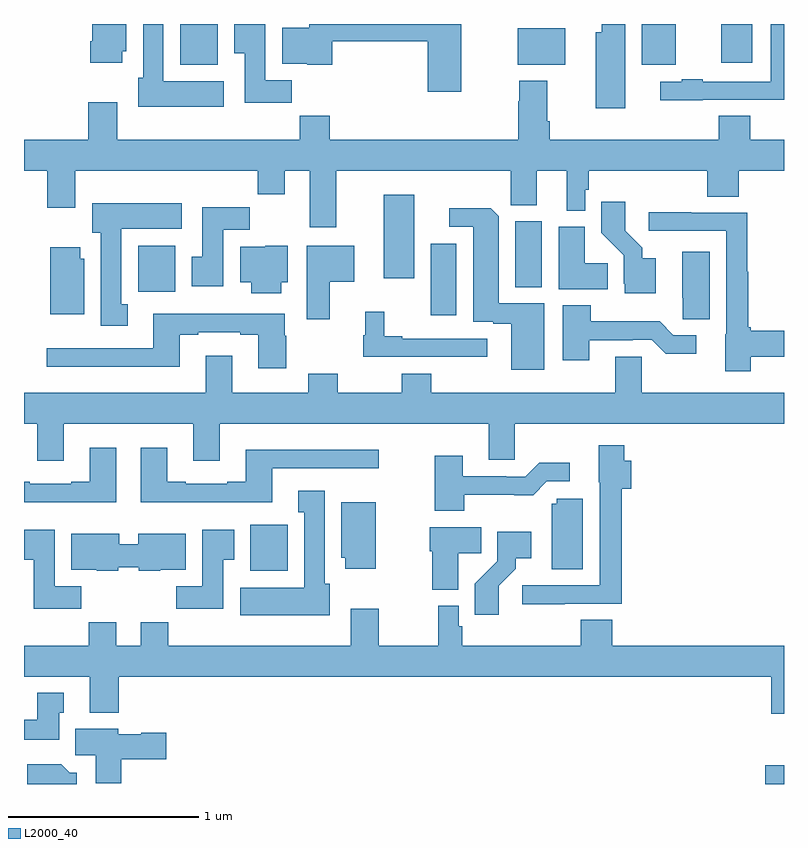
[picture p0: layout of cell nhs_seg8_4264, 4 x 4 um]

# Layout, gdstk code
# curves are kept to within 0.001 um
import gdstk
lib = gdstk.Library(unit=1e-6, precision=1e-09)
def R(c, l, rs):  # rectangles x0, y0, x1, y1
    for r in rs: c.add(gdstk.rectangle(r[:2], r[2:], *l))
def P(c, l, *ps):  # polygons
    for p in ps: c.add(gdstk.Polygon(p, *l))
L2000_40 = (2000, 40)

nhs_seg8_4264 = lib.new_cell('nhs_seg8_4264')
R(nhs_seg8_4264, L2000_40, [(374.901,1151.9,375,1151.998), (372.191,1153.022,372.388,1153.264), (373.142,1154.367,373.276,1154.743), (371.6,1154.492,371.797,1154.734), (373.586,1154.515,373.726,1154.862), (372.893,1154.562,373.054,1155.001), (371.823,1155.686,372.019,1155.9), (373.598,1155.686,373.849,1155.877), (374.252,1155.686,374.431,1155.9), (374.669,1155.696,374.833,1155.9)])
P(nhs_seg8_4264, L2000_40, [(372.052,1155.598),(371.734,1155.598),(371.734,1155.9),(371.627,1155.9),(371.627,1155.618),(371.6,1155.618),(371.6,1155.464),(372.052,1155.464)],
  [(374.573,1155.501),(375,1155.501),(375,1155.9),(374.93,1155.9),(374.93,1155.597),(374.573,1155.597),(374.573,1155.61),(374.461,1155.61),(374.461,1155.597),(374.349,1155.597),(374.349,1155.5),(374.573,1155.5)],
  [(374.164,1155.9),(374.042,1155.9),(374.042,1155.856),(374.009,1155.856),(374.009,1155.456),(374.164,1155.456)],
  [(373.302,1155.9),(372.5,1155.9),(372.5,1155.88),(372.359,1155.88),(372.359,1155.692),(372.492,1155.692),(372.492,1155.686),(372.623,1155.686),(372.623,1155.808),(373.124,1155.808),(373.124,1155.543),(373.302,1155.543)],
  [(371.518,1155.756),(371.539,1155.756),(371.539,1155.9),(371.36,1155.9),(371.36,1155.808),(371.348,1155.808),(371.348,1155.696),(371.518,1155.696)],
  [(372.41,1155.604),(372.271,1155.604),(372.271,1155.9),(372.107,1155.9),(372.107,1155.745),(372.161,1155.745),(372.161,1155.486),(372.41,1155.486)],
  [(372.643,1155.128),(373.561,1155.128),(373.561,1154.947),(373.699,1154.947),(373.699,1155.128),(373.856,1155.128),(373.856,1154.918),(373.953,1154.918),(373.953,1155.027),(373.973,1155.027),(373.973,1155.128),(374.597,1155.128),(374.597,1154.992),(374.762,1154.992),(374.762,1155.128),(375,1155.128),(375,1155.292),(374.822,1155.292),(374.822,1155.416),(374.657,1155.416),(374.657,1155.292),(373.766,1155.292),(373.766,1155.388),(373.753,1155.388),(373.753,1155.601),(373.606,1155.601),(373.606,1155.494),(373.601,1155.494),(373.601,1155.292),(372.608,1155.292),(372.608,1155.416),(372.451,1155.416),(372.451,1155.292),(371.491,1155.292),(371.491,1155.487),(371.339,1155.487),(371.339,1155.292),(371,1155.292),(371,1155.128),(371.122,1155.128),(371.122,1154.934),(371.269,1154.934),(371.269,1155.128),(372.229,1155.128),(372.229,1155.004),(372.373,1155.004),(372.373,1155.128),(372.503,1155.128),(372.503,1154.829),(372.643,1154.829)],
  [(374.326,1154.668),(374.254,1154.668),(374.254,1154.723),(374.164,1154.813),(374.164,1154.965),(374.038,1154.965),(374.038,1154.802),(374.157,1154.683),(374.157,1154.532),(374.162,1154.532),(374.162,1154.483),(374.326,1154.483)],
  [(371.545,1154.426),(371.512,1154.426),(371.512,1154.822),(371.83,1154.822),(371.83,1154.956),(371.36,1154.956),(371.36,1154.802),(371.405,1154.802),(371.405,1154.313),(371.545,1154.313)],
  [(372.049,1154.816),(372.188,1154.816),(372.188,1154.935),(371.939,1154.935),(371.939,1154.676),(371.882,1154.676),(371.882,1154.52),(372.049,1154.52)],
  [(373.738,1154.43),(373.498,1154.43),(373.498,1154.888),(373.457,1154.93),(373.239,1154.93),(373.239,1154.832),(373.364,1154.832),(373.364,1154.334),(373.469,1154.334),(373.469,1154.322),(373.565,1154.322),(373.565,1154.079),(373.738,1154.079)],
  [(374.826,1154.15),(375,1154.15),(375,1154.285),(374.826,1154.285),(374.826,1154.303),(374.813,1154.303),(374.813,1154.595),(374.806,1154.595),(374.806,1154.907),(374.513,1154.907),(374.513,1154.91),(374.289,1154.91),(374.289,1154.811),(374.697,1154.811),(374.697,1154.268),(374.69,1154.268),(374.69,1154.072),(374.826,1154.072)],
  [(374.072,1154.642),(373.951,1154.642),(373.951,1154.833),(373.814,1154.833),(373.814,1154.504),(374.072,1154.504)],
  [(372.61,1154.543),(372.739,1154.543),(372.739,1154.734),(372.488,1154.734),(372.488,1154.346),(372.61,1154.346)],
  [(372.355,1154.54),(372.388,1154.54),(372.388,1154.734),(372.27,1154.734),(372.27,1154.728),(372.137,1154.728),(372.137,1154.54),(372.197,1154.54),(372.197,1154.483),(372.355,1154.483)],
  [(371.317,1154.664),(371.296,1154.664),(371.296,1154.725),(371.138,1154.725),(371.138,1154.372),(371.317,1154.372)],
  [(374.608,1154.701),(374.465,1154.701),(374.465,1154.458),(374.466,1154.458),(374.466,1154.347),(374.608,1154.347)],
  [(373.975,1154.235),(374.204,1154.235),(374.204,1154.238),(374.304,1154.238),(374.377,1154.165),(374.539,1154.165),(374.539,1154.262),(374.418,1154.262),(374.345,1154.335),(373.983,1154.335),(373.983,1154.419),(373.835,1154.419),(373.835,1154.13),(373.975,1154.13)],
  [(373.438,1154.244),(372.991,1154.244),(372.991,1154.257),(372.897,1154.257),(372.897,1154.386),(372.797,1154.386),(372.797,1154.262),(372.786,1154.262),(372.786,1154.148),(373.438,1154.148)],
  [(372.381,1154.258),(372.373,1154.258),(372.373,1154.374),(371.681,1154.374),(371.681,1154.193),(371.121,1154.193),(371.121,1154.096),(371.821,1154.096),(371.821,1154.265),(371.917,1154.265),(371.917,1154.277),(372.137,1154.277),(372.137,1154.265),(372.233,1154.265),(372.233,1154.088),(372.381,1154.088)],
  [(371.209,1153.796),(371.891,1153.796),(371.891,1153.602),(372.031,1153.602),(372.031,1153.796),(373.445,1153.796),(373.445,1153.606),(373.584,1153.606),(373.584,1153.796),(375,1153.796),(375,1153.96),(374.25,1153.96),(374.25,1154.15),(374.111,1154.15),(374.111,1153.96),(373.143,1153.96),(373.143,1154.059),(372.988,1154.059),(372.988,1153.96),(372.651,1153.96),(372.651,1154.059),(372.496,1154.059),(372.496,1153.96),(372.097,1153.96),(372.097,1154.155),(371.957,1154.155),(371.957,1153.96),(371,1153.96),(371,1153.796),(371.069,1153.796),(371.069,1153.602),(371.209,1153.602)],
  [(373.847,1152.849),(374.147,1152.849),(374.147,1153.454),(374.195,1153.454),(374.195,1153.602),(374.16,1153.602),(374.16,1153.684),(374.024,1153.684),(374.024,1153.488),(374.031,1153.488),(374.031,1152.945),(373.623,1152.945),(373.623,1152.847),(373.847,1152.847)],
  [(372.307,1153.563),(372.868,1153.563),(372.868,1153.66),(372.167,1153.66),(372.167,1153.492),(372.071,1153.492),(372.071,1153.479),(371.851,1153.479),(371.851,1153.492),(371.755,1153.492),(371.755,1153.669),(371.615,1153.669),(371.615,1153.382),(372.307,1153.382)],
  [(371.485,1153.669),(371.345,1153.669),(371.345,1153.492),(371.249,1153.492),(371.249,1153.479),(371.029,1153.479),(371.029,1153.492),(371,1153.492),(371,1153.382),(371.485,1153.382)],
  [(373.317,1153.422),(373.679,1153.421),(373.752,1153.494),(373.873,1153.494),(373.873,1153.591),(373.711,1153.591),(373.638,1153.518),(373.538,1153.518),(373.538,1153.521),(373.309,1153.521),(373.309,1153.627),(373.162,1153.627),(373.162,1153.337),(373.317,1153.337)],
  [(372.61,1152.954),(372.583,1152.954),(372.583,1153.444),(372.443,1153.444),(372.443,1153.331),(372.476,1153.331),(372.476,1152.934),(372.137,1152.934),(372.137,1152.788),(372.61,1152.788)],
  [(373.942,1153.401),(373.803,1153.401),(373.803,1153.374),(373.778,1153.374),(373.778,1153.03),(373.942,1153.03)],
  [(372.85,1153.384),(372.671,1153.384),(372.671,1153.092),(372.692,1153.092),(372.692,1153.032),(372.85,1153.032)],
  [(373.285,1153.114),(373.406,1153.114),(373.406,1153.252),(373.136,1153.252),(373.136,1153.125),(373.148,1153.125),(373.148,1152.923),(373.285,1152.923)],
  [(371.3,1152.94),(371.161,1152.94),(371.161,1153.237),(371,1153.237),(371,1153.081),(371.051,1153.081),(371.051,1152.822),(371.3,1152.822)],
  [(372.049,1153.081),(372.106,1153.081),(372.106,1153.237),(371.939,1153.237),(371.939,1152.94),(371.8,1152.94),(371.8,1152.822),(372.049,1152.822)],
  [(373.498,1152.943),(373.588,1153.033),(373.588,1153.088),(373.669,1153.088),(373.669,1153.228),(373.491,1153.228),(373.491,1153.073),(373.372,1152.954),(373.372,1152.792),(373.498,1152.792)],
  [(371.496,1153.04),(371.604,1153.04),(371.604,1153.022),(371.718,1153.022),(371.718,1153.028),(371.851,1153.028),(371.851,1153.216),(371.6,1153.216),(371.6,1153.162),(371.5,1153.162),(371.5,1153.216),(371.249,1153.216),(371.249,1153.028),(371.382,1153.028),(371.382,1153.022),(371.496,1153.022)],
  [(375,1152.628),(374.096,1152.628),(374.096,1152.764),(373.931,1152.764),(373.931,1152.628),(373.307,1152.628),(373.307,1152.729),(373.287,1152.729),(373.287,1152.838),(373.179,1152.838),(373.179,1152.628),(372.867,1152.628),(372.867,1152.823),(372.719,1152.823),(372.719,1152.628),(371.759,1152.628),(371.759,1152.752),(371.615,1152.752),(371.615,1152.628),(371.485,1152.628),(371.485,1152.752),(371.341,1152.752),(371.341,1152.628),(371,1152.628),(371,1152.464),(371.345,1152.464),(371.345,1152.275),(371.498,1152.275),(371.498,1152.464),(374.933,1152.464),(374.933,1152.27),(375,1152.27)],
  [(371.185,1152.276),(371.209,1152.276),(371.209,1152.379),(371.069,1152.379),(371.069,1152.238),(371,1152.238),(371,1152.134),(371.185,1152.134)],
  [(371.513,1152.029),(371.749,1152.029),(371.749,1152.171),(371.616,1152.171),(371.616,1152.163),(371.496,1152.163),(371.496,1152.19),(371.27,1152.19),(371.27,1152.051),(371.378,1152.051),(371.378,1151.904),(371.513,1151.904)],
  [(371.278,1151.959),(371.24,1151.959),(371.195,1152.004),(371.017,1152.004),(371.017,1151.9),(371.278,1151.9)])

lib.write_gds('nhs_seg8_4264.gds')
